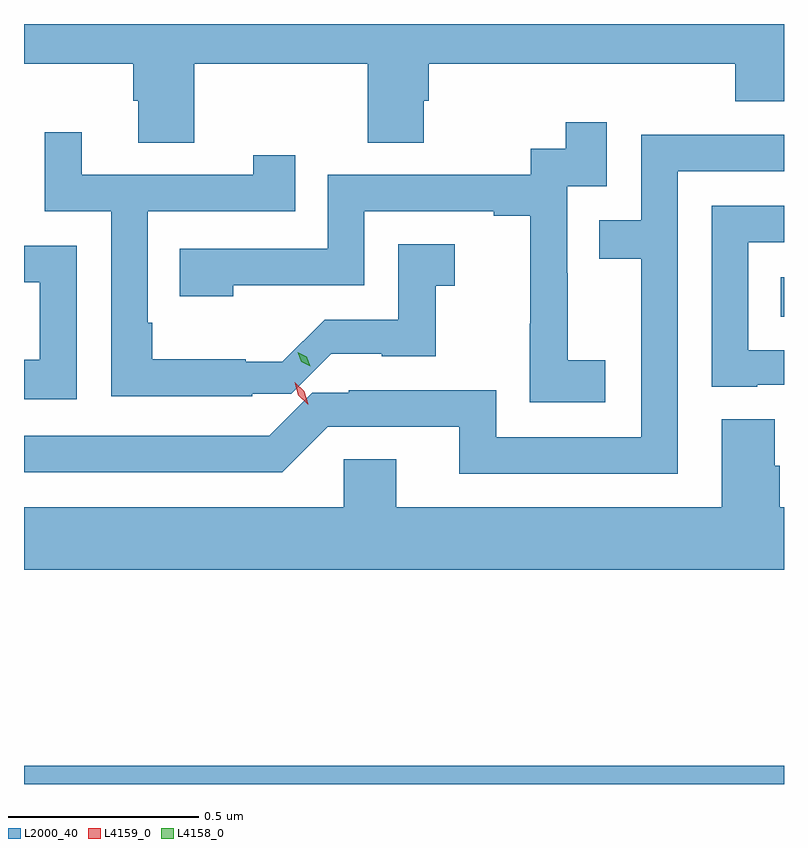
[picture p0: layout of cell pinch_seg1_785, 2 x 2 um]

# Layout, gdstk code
import gdstk
lib = gdstk.Library(unit=1e-6, precision=1e-09)
def R(c, l, rs):  # rectangles x0, y0, x1, y1
    for r in rs: c.add(gdstk.rectangle(r[:2], r[2:], *l))
def P(c, l, *ps):  # polygons
    for p in ps: c.add(gdstk.Polygon(p, *l))
L2000_40 = (2000, 40)
L4158_0 = (4158, 0)
L4159_0 = (4159, 0)

pinch_seg1_785 = lib.new_cell('pinch_seg1_785')
R(pinch_seg1_785, L2000_40, [(860.861,507.212,862.861,507.26), (862.852,508.442,862.861,508.546)])
P(pinch_seg1_785, L2000_40, [(861.309,509.108),(861.766,509.108),(861.766,508.9),(861.913,508.9),(861.913,509.01),(861.926,509.01),(861.926,509.108),(862.733,509.108),(862.733,509.009),(862.861,509.009),(862.861,509.212),(860.861,509.212),(860.861,509.108),(861.149,509.108),(861.149,509.01),(861.161,509.01),(861.161,508.9),(861.309,508.9)],
  [(862.39,508.327),(862.292,508.327),(862.292,508.556),(862.29,508.556),(862.29,508.785),(862.395,508.785),(862.395,508.954),(862.287,508.954),(862.287,508.884),(862.194,508.884),(862.194,508.815),(861.66,508.815),(861.66,508.62),(861.271,508.62),(861.271,508.496),(861.411,508.496),(861.411,508.524),(861.756,508.524),(861.756,508.719),(862.097,508.719),(862.097,508.707),(862.193,508.707),(862.193,508.423),(862.192,508.423),(862.192,508.217),(862.39,508.217)],
  [(861.461,508.239),(861.564,508.239),(861.669,508.344),(861.803,508.344),(861.803,508.338),(861.945,508.338),(861.945,508.523),(861.994,508.523),(861.994,508.633),(861.846,508.633),(861.846,508.434),(861.652,508.434),(861.541,508.323),(861.444,508.323),(861.444,508.33),(861.199,508.33),(861.199,508.426),(861.186,508.426),(861.186,508.719),(861.575,508.719),(861.575,508.867),(861.464,508.867),(861.464,508.815),(861.013,508.815),(861.013,508.927),(860.916,508.927),(860.916,508.719),(861.09,508.719),(861.09,508.233),(861.461,508.233)],
  [(862.581,508.824),(862.861,508.824),(862.861,508.92),(862.485,508.92),(862.485,508.695),(862.375,508.695),(862.375,508.594),(862.485,508.594),(862.485,508.125),(862.104,508.125),(862.104,508.248),(861.715,508.248),(861.715,508.242),(861.62,508.242),(861.506,508.128),(860.861,508.128),(860.861,508.032),(861.54,508.032),(861.66,508.152),(862.007,508.152),(862.007,508.029),(862.581,508.029)],
  [(862.791,508.263),(862.861,508.263),(862.861,508.353),(862.767,508.353),(862.767,508.638),(862.861,508.638),(862.861,508.734),(862.671,508.734),(862.671,508.257),(862.791,508.257)],
  [(861,508.629),(860.861,508.629),(860.861,508.533),(860.903,508.533),(860.903,508.329),(860.861,508.329),(860.861,508.224),(861,508.224)],
  [(862.861,507.94),(862.85,507.94),(862.85,508.049),(862.836,508.049),(862.836,508.172),(862.697,508.172),(862.697,507.94),(861.841,507.94),(861.841,508.067),(861.702,508.067),(861.702,507.94),(860.861,507.94),(860.861,507.776),(862.861,507.776)])
P(pinch_seg1_785, L4158_0, [(861.614,508.312),(861.59,508.323),(861.581,508.348),(861.581,508.348),(861.582,508.348),(861.605,508.337),(861.614,508.312),(861.614,508.312)])
P(pinch_seg1_785, L4159_0, [(861.608,508.212),(861.583,508.235),(861.573,508.269),(861.573,508.269),(861.574,508.269),(861.599,508.246),(861.609,508.212),(861.609,508.212)])

lib.write_gds('pinch_seg1_785.gds')
